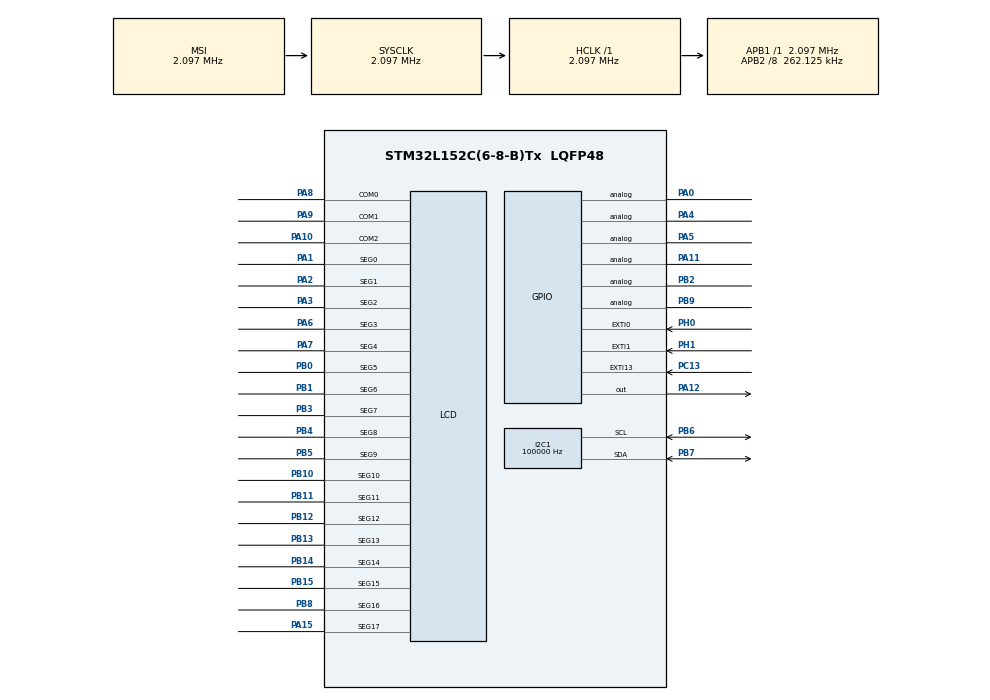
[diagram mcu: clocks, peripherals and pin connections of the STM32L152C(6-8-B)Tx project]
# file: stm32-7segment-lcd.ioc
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I2C1.ClockSpeed=100000
I2C1.NoStretchMode=I2C_NOSTRETCH_DISABLE
LCD.Bias=LCD_BIAS_1_3
LCD.BlinkFrequency=LCD_BLINKFREQUENCY_DIV8
LCD.Contrast=LCD_CONTRASTLEVEL_3
LCD.DeadTime=LCD_DEADTIME_0
LCD.Divider=LCD_DIVIDER_31
LCD.HighDrive=DISABLE
LCD.Prescaler=LCD_PRESCALER_2
LCD.PulseOnDuration=LCD_PULSEONDURATION_4
LCD.VoltageSource=LCD_VOLTAGESOURCE_INTERNAL
Mcu.Family=STM32L1
Mcu.Name=STM32L152C(6-8-B)Tx
Mcu.Package=LQFP48
NVIC.EXTI0_IRQn=true\:0\:0\:false\:false\:true\:true\:true
NVIC.EXTI15_10_IRQn=true\:0\:0\:false\:false\:true\:true\:true
NVIC.EXTI1_IRQn=true\:0\:0\:false\:false\:true\:true\:true
NVIC.LCD_IRQn=true\:0\:0\:false\:false\:true\:true\:false
NVIC.PriorityGroup=NVIC_PRIORITYGROUP_4
NVIC.RTC_WKUP_IRQn=true\:0\:0\:false\:false\:true\:true\:true
NVIC.TIM11_IRQn=true\:0\:0\:false\:false\:true\:true\:true
PA0-WKUP1.Signal=GPIO_Analog
PA1.Mode=SEG0
PA1.Signal=LCD_SEG0
PA10.Mode=1/3 Duty Cycle
PA10.Signal=LCD_COM2
PA11.Signal=GPIO_Analog
PA12.Signal=GPIO_Output
PA13.Mode=Serial_Wire
PA13.Signal=SYS_JTMS-SWDIO
PA14.Mode=Serial_Wire
PA14.Signal=SYS_JTCK-SWCLK
PA15.Mode=SEG17
PA15.Signal=LCD_SEG17
PA2.Mode=SEG1
PA2.Signal=LCD_SEG1
PA3.Mode=SEG2
PA3.Signal=LCD_SEG2
PA4.Signal=GPIO_Analog
PA5.Signal=GPIO_Analog
PA6.Mode=SEG3
PA6.Signal=LCD_SEG3
PA7.Mode=SEG4
PA7.Signal=LCD_SEG4
PA8.Mode=1/3 Duty Cycle
PA8.Signal=LCD_COM0
PA9.Mode=1/3 Duty Cycle
PA9.Signal=LCD_COM1
PB0.Mode=SEG5
PB0.Signal=LCD_SEG5
PB1.Mode=SEG6
PB1.Signal=LCD_SEG6
PB10.Mode=SEG10
PB10.Signal=LCD_SEG10
PB11.Mode=SEG11
PB11.Signal=LCD_SEG11
PB12.Mode=SEG12
PB12.Signal=LCD_SEG12
PB13.Mode=SEG13
PB13.Signal=LCD_SEG13
PB14.Mode=SEG14
PB14.Signal=LCD_SEG14
PB15.Mode=SEG15
PB15.Signal=LCD_SEG15
PB2.Signal=GPIO_Analog
PB3.Mode=SEG7
PB3.Signal=LCD_SEG7
PB4.Mode=SEG8
PB4.Signal=LCD_SEG8
PB5.Mode=SEG9
PB5.Signal=LCD_SEG9
PB6.Mode=I2C
PB6.Signal=I2C1_SCL
PB7.Mode=I2C
PB7.Signal=I2C1_SDA
PB8.Mode=SEG16
PB8.Signal=LCD_SEG16
PB9.Signal=GPIO_Analog
PC13-WKUP2.GPIO_PuPd=GPIO_PULLDOWN
PC13-WKUP2.Signal=GPXTI13
PC14-OSC32_IN.Mode=LSE-External-Oscillator
PC14-OSC32_IN.Signal=RCC_OSC32_IN
PC15-OSC32_OUT.Mode=LSE-External-Oscillator
PC15-OSC32_OUT.Signal=RCC_OSC32_OUT
PH0-OSC_IN.GPIO_PuPd=GPIO_PULLDOWN
PH0-OSC_IN.Signal=GPXTI0
PH1-OSC_OUT.GPIO_PuPd=GPIO_PULLDOWN
PH1-OSC_OUT.Signal=GPXTI1
ProjectManager.HeapSize=0x200
ProjectManager.StackSize=0x400
ProjectManager.TargetToolchain=MDK-ARM V5
RCC.48MHZClocksFreq_Value=24000000
RCC.AHBFreq_Value=2097000
RCC.APB1Freq_Value=2097000
RCC.APB1TimFreq_Value=2097000
RCC.APB2CLKDivider=RCC_HCLK_DIV8
RCC.APB2Freq_Value=262125
RCC.APB2TimFreq_Value=524250
RCC.HCLKFreq_Value=2097000
RCC.HSE_VALUE=20000000
RCC.HSI_VALUE=16000000
RCC.MSI_VALUE=2097000
RCC.PLLDIV=RCC_PLL_DIV4
RCC.PWR_Regulator_Voltage_Scale=PWR_REGULATOR_VOLTAGE_SCALE3
RCC.RTCClockSelectionVirtual=RCC_RTCCLKSOURCE_LSE
RCC.SYSCLKFreq_VALUE=2097000
RCC.VCOOutputFreq_Value=48000000
RCC.VDD_VALUE=3
RTC.Date=10
RTC.Format=RTC_FORMAT_BIN
RTC.Hours=15
RTC.Minutes=7
RTC.Month=RTC_MONTH_OCTOBER
RTC.Seconds=15
RTC.WakeUpClock-WakeUp=RTC_WAKEUPCLOCK_CK_SPRE_16BITS
RTC.WakeUpCounter-WakeUp=5
RTC.WeekDay=RTC_WEEKDAY_THURSDAY
RTC.Year=19
TIM11.Period=100
TIM11.Prescaler=1632
VP_RTC_VS_RTC_Activate.Mode=RTC_Enabled
VP_RTC_VS_RTC_Calendar.Mode=RTC_Calendar
VP_RTC_VS_RTC_WakeUp_intern.Mode=WakeUp
VP_TIM11_VS_NoETR.Mode=ClockSourceETR_Mode2_L1_Occur2
board=custom

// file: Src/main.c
/* USER CODE BEGIN Header */
/**
  ******************************************************************************
  * @file           : main.c
  * @brief          : Main program body
  ******************************************************************************
  * @attention
  *
  * <h2><center>&copy; Copyright (c) 2019 STMicroelectronics.
  * All rights reserved.</center></h2>
  *
  * This software component is licensed by ST under BSD 3-Clause license,
  * the "License"; You may not use this file except in compliance with the
  * License. You may obtain a copy of the License at:
  *                        opensource.org/licenses/BSD-3-Clause
  *
  ******************************************************************************
  */
/* USER CODE END Header */

#include "main.h"

/* USER CODE BEGIN PD */
uint32_t testd = 0;
volatile uint8_t status_interface = MENU_DEFULT;
volatile uint8_t button = 0;
uint32_t alarm_max_pressure = 7800;
uint32_t alarm_min_pressure = 7300;
uint8_t sound_alarm = SOUND_ENABLE;
volatile uint32_t tim_count;
RTC_TimeTypeDef get_time, set_time;

/* USER CODE END PD */

I2C_HandleTypeDef hi2c1;

LCD_HandleTypeDef hlcd;

RTC_HandleTypeDef hrtc;

TIM_HandleTypeDef htim11;

void SystemClock_Config(void);
static void MX_GPIO_Init(void);
static void MX_I2C1_Init(void);
static void MX_LCD_Init(void);
static void MX_RTC_Init(void);
static void MX_TIM11_Init(void);
/* USER CODE BEGIN PFP */

void HAL_TIM_PeriodElapsedCallback(TIM_HandleTypeDef *htim) {
	tim_count++;
}

/* sound signal */
void beeper(uint32_t signal_long) {
	for(uint32_t per = 0;per < signal_long;per++) {
			for(uint32_t up = 0;up < 50;up++);
			GPIOA->BSRR = GPIO_BSRR_BR_12;
			for(uint32_t down = 0;down < 200;down++);
			GPIOA->BSRR = GPIO_BSRR_BS_12;
	}
}

void HAL_GPIO_EXTI_Callback(uint16_t GPIO_Pin) {
	if ((GPIO_PIN_0|GPIO_PIN_1|GPIO_PIN_13) != 0) {
		if (GPIO_Pin == GPIO_PIN_0) button = BUTTON_UP;
		if (GPIO_Pin == GPIO_PIN_1) button = BUTTON_MID;
		if (GPIO_Pin == GPIO_PIN_13) button = BUTTON_DOWN;
		if(((GPIOH->IDR & GPIO_IDR_IDR_0) | (GPIOC->IDR & GPIO_IDR_IDR_13)) == (GPIO_IDR_IDR_0 | GPIO_IDR_IDR_13)) {
			status_interface = MENU_SET_TIME;
			button = BUTTON_MENU_TIME;
		}
		if(((GPIOH->IDR & GPIO_IDR_IDR_0) | (GPIOH->IDR & GPIO_IDR_IDR_1)) == (GPIO_IDR_IDR_0 | GPIO_IDR_IDR_1)) {
			status_interface = MENU_SET_ALARM_MAX;
			button = BUTTON_MENU_ALARM;
		}
		if(((GPIOC->IDR & GPIO_IDR_IDR_13) | (GPIOH->IDR & GPIO_IDR_IDR_1)) == (GPIO_IDR_IDR_13 | GPIO_IDR_IDR_1)) {
			status_interface = MENU_SET_ALARM_MIN;
			button = BUTTON_MENU_ALARM;
		}
		beeper(BEEP_SHORT);
	}
}

void show_time(void) {

}

/* Set system time */
void menu_set_time(void) {
		status_interface = MENU_DEFULT;
		uint32_t hold_time;
		HAL_LCD_Clear(&hlcd);
		lcd_digit(&hlcd, get_time.Seconds%10 , 5, LCD_OFF_MUSK);
		lcd_digit(&hlcd, (get_time.Seconds/10)%10 , 4, LCD_OFF_MUSK);
		lcd_digit(&hlcd, get_time.Minutes%10 , 3, LCD_OFF_MUSK);
		lcd_digit(&hlcd, (get_time.Minutes/10)%10 , 2, LCD_OFF_MUSK);
		lcd_digit(&hlcd, 10, 3, LCD_ON_MUSK); //point
		lcd_digit(&hlcd, get_time.Hours%10 , 1, LCD_OFF_MUSK);
		lcd_digit(&hlcd, (get_time.Hours/10)%10 , 0, LCD_OFF_MUSK);
		lcd_digit(&hlcd, 10, 1, LCD_ON_MUSK); //point
		HAL_LCD_UpdateDisplayRequest(&hlcd);

		// Set secconds
		hold_time = 0;
		while(button != BUTTON_MID) {
			if(button == BUTTON_UP) {
				get_time.Seconds = (get_time.Seconds+1)%60;
				button = BUTTON_MENU_TIME;
			}
			if(button == BUTTON_DOWN) {
				get_time.Seconds = (get_time.Seconds+59)%60;
				button = BUTTON_MENU_TIME;
			}
			lcd_digit(&hlcd, get_time.Seconds%10 , 5, LCD_OFF_MUSK);
			lcd_digit(&hlcd, (get_time.Seconds/10)%10 , 4, LCD_OFF_MUSK);
			lcd_digit(&hlcd, 11, 5, LCD_ON_MUSK);
			lcd_digit(&hlcd, 11, 4, LCD_ON_MUSK);
			HAL_LCD_UpdateDisplayRequest(&hlcd);
			if (hold_time > 5000) { // exit timeout ~30sec, not set
				status_interface = MENU_DEFULT;
				return;
			}
			hold_time++;
		}
		lcd_digit(&hlcd, get_time.Seconds%10 , 5, LCD_OFF_MUSK);
		lcd_digit(&hlcd, (get_time.Seconds/10)%10 , 4, LCD_OFF_MUSK);
		button = BUTTON_MENU_TIME;

		//Set minuts
		hold_time = 0;
		while(button != BUTTON_MID) {
			if(button == BUTTON_UP) {
				get_time.Minutes = (get_time.Minutes+1)%60;
				button = BUTTON_MENU_TIME;
			}
			if(button == BUTTON_DOWN) {
				get_time.Minutes = (get_time.Minutes+59)%60;
				button = BUTTON_MENU_TIME;
			}
			lcd_digit(&hlcd, get_time.Minutes%10 , 3, LCD_OFF_MUSK);
			lcd_digit(&hlcd, (get_time.Minutes/10)%10 , 2, LCD_OFF_MUSK);
			lcd_digit(&hlcd, 11, 3, LCD_ON_MUSK);
			lcd_digit(&hlcd, 10, 3, LCD_ON_MUSK); //point
			lcd_digit(&hlcd, 11, 2, LCD_ON_MUSK);
			HAL_LCD_UpdateDisplayRequest(&hlcd);
			if (hold_time > 5000) { // exit timeout ~30sec, not set
				status_interface = MENU_DEFULT;
				return;
			}
			hold_time++;
		}
		lcd_digit(&hlcd, get_time.Minutes%10 , 3, LCD_OFF_MUSK);
		lcd_digit(&hlcd, (get_time.Minutes/10)%10 , 2, LCD_OFF_MUSK);
		lcd_digit(&hlcd, 10, 3, LCD_ON_MUSK); //point
		button = BUTTON_MENU_TIME;

		//Set hous
		hold_time = 0;
		while(button != BUTTON_MID) {
			if(button == BUTTON_UP) {
				get_time.Hours = (get_time.Hours+1)%24;
				button = BUTTON_MENU_TIME;
			}
			if(button == BUTTON_DOWN) {
				get_time.Hours = (get_time.Hours+23)%24;
				button = BUTTON_MENU_TIME;
			}
			lcd_digit(&hlcd, get_time.Hours%10 , 1, LCD_OFF_MUSK);
			lcd_digit(&hlcd, (get_time.Hours/10)%10 , 0, LCD_OFF_MUSK);
			lcd_digit(&hlcd, 11, 1, LCD_ON_MUSK);
			lcd_digit(&hlcd, 10, 1, LCD_ON_MUSK);
			lcd_digit(&hlcd, 11, 0, LCD_ON_MUSK);
			HAL_LCD_UpdateDisplayRequest(&hlcd);
			if (hold_time > 5000) { // exit timeout ~30sec, not set
				status_interface = MENU_DEFULT;
				return;
			}
			hold_time++;
		}
		lcd_digit(&hlcd, get_time.Hours%10 , 1, LCD_OFF_MUSK);
		lcd_digit(&hlcd, (get_time.Hours/10)%10 , 0, LCD_OFF_MUSK);
		HAL_LCD_UpdateDisplayRequest(&hlcd);
		//apply time
		HAL_RTC_SetTime(&hrtc, &get_time, RTC_FORMAT_BIN);
		status_interface = MENU_DEFULT;
}

/* alarm signal when exceeded pressure limit */
void menu_set_alarm_pressure(uint8_t mode) {
		uint32_t tmp_pres;
		if(mode == MENU_SET_ALARM_MAX) tmp_pres = alarm_max_pressure;
		if(mode == MENU_SET_ALARM_MIN) tmp_pres = alarm_min_pressure;
		uint32_t hold_time = 0;
		HAL_LCD_Clear(&hlcd);
	while(1) {
		lcd_digit(&hlcd, tmp_pres%10, 5, LCD_OFF_MUSK);
		lcd_digit(&hlcd, (tmp_pres/10)%10, 4, LCD_OFF_MUSK);
		lcd_digit(&hlcd, (tmp_pres/100)%10, 3, LCD_OFF_MUSK);
		lcd_digit(&hlcd, (tmp_pres/1000)%10, 2, LCD_OFF_MUSK);
		lcd_digit(&hlcd, 10, 4, LCD_ON_MUSK); //point
		lcd_digit(&hlcd, 11, 2, LCD_ON_MUSK);
		lcd_digit(&hlcd, 11, 3, LCD_ON_MUSK);
		lcd_digit(&hlcd, 11, 4, LCD_ON_MUSK);
		lcd_digit(&hlcd, 11, 5, LCD_ON_MUSK);
		HAL_LCD_UpdateDisplayRequest(&hlcd);
		if(button == BUTTON_MID)	{
			if(mode == MENU_SET_ALARM_MAX) alarm_max_pressure = tmp_pres;
			if(mode == MENU_SET_ALARM_MIN) alarm_min_pressure = tmp_pres;
			status_interface = MENU_DEFULT;
			return;
		}
		if(button == BUTTON_UP)	{
			button = BUTTON_MENU_ALARM;
			if(tmp_pres < 10000) tmp_pres += 10;
		}
		if(button == BUTTON_DOWN)	{
			button = BUTTON_MENU_ALARM;
			if(tmp_pres > 10) tmp_pres -= 10;
		}
		if (hold_time > 5000) {
			status_interface = MENU_DEFULT;
			return;
		}
		hold_time++;
	}
}

void delay_timer(uint16_t ms) {
	htim11.Init.Period = ms;
	if (HAL_TIM_Base_Init(&htim11) != HAL_OK)
  {
    Error_Handler();
  }
 	tim_count = 0;
	__HAL_TIM_CLEAR_IT (&htim11, TIM_IT_UPDATE);
	HAL_TIM_Base_Start_IT(&htim11);
	HAL_PWR_EnterSLEEPMode(PWR_LOWPOWERREGULATOR_ON, PWR_STOPENTRY_WFI);
	while(tim_count == 0);
	HAL_TIM_Base_Stop_IT(&htim11);
}
/* USER CODE END PFP */

int main(void)
{

  /* MCU Configuration--------------------------------------------------------*/

  /* Reset of all peripherals, Initializes the Flash interface and the Systick. */
  HAL_Init();

  /* Configure the system clock */
  SystemClock_Config();

  /* USER CODE BEGIN SysInit */
	//__HAL_RCC_PWR_CLK_ENABLE();
	//HAL_PWR_EnableBkUpAccess();
  /* USER CODE END SysInit */

  /* Initialize all configured peripherals */
  MX_GPIO_Init();
  MX_I2C1_Init();
  MX_LCD_Init();
  MX_RTC_Init();
  MX_TIM11_Init();

  /* Infinite loop */
  /* USER CODE BEGIN WHILE */
	//HAL_TIM_Base_Start_IT(&htim11);
	HAL_LCD_Clear(&hlcd);

	for(uint32_t startp = 0;startp < 500000;startp++);
	SysTick-> CTRL = 0;
	//DBGMCU->CR |= (DBGMCU_CR_DBG_SLEEP | DBGMCU_CR_DBG_STOP | DBGMCU_CR_DBG_STANDBY);
	__HAL_FLASH_SLEEP_POWERDOWN_ENABLE(); //Disable flash in Sleep mode
	HAL_PWREx_EnableLowPowerRunMode(); //Enable low power mode run CPU
	//HAL_PWR_EnableWakeUpPin(PWR_WAKEUP_PIN1);

  while (1)  {
		switch (status_interface) {
			case MENU_DEFULT: {
		/* get pressure */
				struct bmp085_result test_str;
				bmp085_get_data(&hi2c1, &test_str);
				testd = test_str.p_mm_rt_st*10;
		/* print pressure */
				HAL_LCD_Clear(&hlcd);
				lcd_digit(&hlcd, testd%10, 5, LCD_OFF_MUSK);
				lcd_digit(&hlcd, (testd/10)%10, 4, LCD_OFF_MUSK);
				lcd_digit(&hlcd, (testd/100)%10, 3, LCD_OFF_MUSK);
				lcd_digit(&hlcd, (testd/1000)%10, 2, LCD_OFF_MUSK);
				lcd_digit(&hlcd, 12, 0, LCD_OFF_MUSK);
				lcd_digit(&hlcd, 10, 4, LCD_ON_MUSK); //point
				HAL_LCD_UpdateDisplayRequest(&hlcd);
				/* check max and min alarm */
				if(testd > alarm_max_pressure) beeper(BEEP_LONG);
				if(testd < alarm_min_pressure) beeper(BEEP_LONG);
				if (status_interface != MENU_DEFULT) break;
				MK_STOP;
				if (status_interface != MENU_DEFULT) break;
		/* print  temperature */
				HAL_LCD_Clear(&hlcd);
				lcd_digit(&hlcd, test_str.t_cel%10, 5, LCD_OFF_MUSK);
				lcd_digit(&hlcd, (test_str.t_cel/10)%10, 4, LCD_OFF_MUSK);
				lcd_digit(&hlcd, (test_str.t_cel/100)%10, 3, LCD_OFF_MUSK);
				if((test_str.t_cel/1000)%10 != 0) lcd_digit(&hlcd, (test_str.t_cel/1000)%10, 2, LCD_OFF_MUSK);
				lcd_digit(&hlcd, 14, 0, LCD_OFF_MUSK);
				lcd_digit(&hlcd, 10, 4, LCD_ON_MUSK); //point
				HAL_LCD_UpdateDisplayRequest(&hlcd);
				if (status_interface != MENU_DEFULT) break;
				MK_STOP;
				if (status_interface != MENU_DEFULT) break;
		/* print clock */
				HAL_RTC_GetTime(&hrtc, &get_time, RTC_FORMAT_BIN);
				HAL_LCD_Clear(&hlcd);
				lcd_digit(&hlcd, get_time.Minutes%10 , 5, LCD_OFF_MUSK);
				lcd_digit(&hlcd, (get_time.Minutes/10)%10 , 4, LCD_OFF_MUSK);
				lcd_digit(&hlcd, 13, 3, LCD_OFF_MUSK);
				lcd_digit(&hlcd, get_time.Hours%10 , 2, LCD_OFF_MUSK);
				lcd_digit(&hlcd, (get_time.Hours/10)%10 , 1, LCD_OFF_MUSK);
				HAL_LCD_UpdateDisplayRequest(&hlcd);
				if (status_interface != MENU_DEFULT) break;
				MK_STOP;
				break;
				}
			case MENU_SET_TIME: {
				menu_set_time();
				break;
			}
			case MENU_SET_ALARM_MAX: {
				menu_set_alarm_pressure(MENU_SET_ALARM_MAX);
				break;
			}
			case MENU_SET_ALARM_MIN: {
				menu_set_alarm_pressure(MENU_SET_ALARM_MIN);
				break;
			}
		}

    /* USER CODE END WHILE */

  }
}

void SystemClock_Config(void)
{
  RCC_OscInitTypeDef RCC_OscInitStruct = {0};
  RCC_ClkInitTypeDef RCC_ClkInitStruct = {0};
  RCC_PeriphCLKInitTypeDef PeriphClkInit = {0};

  /** Configure the main internal regulator output voltage
  */
  __HAL_PWR_VOLTAGESCALING_CONFIG(PWR_REGULATOR_VOLTAGE_SCALE3);
  /** Initializes the CPU, AHB and APB busses clocks
  */
  RCC_OscInitStruct.OscillatorType = RCC_OSCILLATORTYPE_LSE|RCC_OSCILLATORTYPE_MSI;
  RCC_OscInitStruct.LSEState = RCC_LSE_ON;
  RCC_OscInitStruct.MSIState = RCC_MSI_ON;
  RCC_OscInitStruct.MSICalibrationValue = 0;
  RCC_OscInitStruct.MSIClockRange = RCC_MSIRANGE_5;
  RCC_OscInitStruct.PLL.PLLState = RCC_PLL_NONE;
  if (HAL_RCC_OscConfig(&RCC_OscInitStruct) != HAL_OK)
  {
    Error_Handler();
  }
  /** Initializes the CPU, AHB and APB busses clocks
  */
  RCC_ClkInitStruct.ClockType = RCC_CLOCKTYPE_HCLK|RCC_CLOCKTYPE_SYSCLK
                              |RCC_CLOCKTYPE_PCLK1|RCC_CLOCKTYPE_PCLK2;
  RCC_ClkInitStruct.SYSCLKSource = RCC_SYSCLKSOURCE_MSI;
  RCC_ClkInitStruct.AHBCLKDivider = RCC_SYSCLK_DIV1;
  RCC_ClkInitStruct.APB1CLKDivider = RCC_HCLK_DIV1;
  RCC_ClkInitStruct.APB2CLKDivider = RCC_HCLK_DIV8;

  if (HAL_RCC_ClockConfig(&RCC_ClkInitStruct, FLASH_LATENCY_0) != HAL_OK)
  {
    Error_Handler();
  }
  PeriphClkInit.PeriphClockSelection = RCC_PERIPHCLK_RTC|RCC_PERIPHCLK_LCD;
  PeriphClkInit.RTCClockSelection = RCC_RTCCLKSOURCE_LSE;
  PeriphClkInit.LCDClockSelection = RCC_RTCCLKSOURCE_LSE;

  if (HAL_RCCEx_PeriphCLKConfig(&PeriphClkInit) != HAL_OK)
  {
    Error_Handler();
  }
}

static void MX_I2C1_Init(void)
{

  hi2c1.Instance = I2C1;
  hi2c1.Init.ClockSpeed = 100000;
  hi2c1.Init.DutyCycle = I2C_DUTYCYCLE_2;
  hi2c1.Init.OwnAddress1 = 0;
  hi2c1.Init.AddressingMode = I2C_ADDRESSINGMODE_7BIT;
  hi2c1.Init.DualAddressMode = I2C_DUALADDRESS_DISABLE;
  hi2c1.Init.OwnAddress2 = 0;
  hi2c1.Init.GeneralCallMode = I2C_GENERALCALL_DISABLE;
  hi2c1.Init.NoStretchMode = I2C_NOSTRETCH_DISABLE;
  if (HAL_I2C_Init(&hi2c1) != HAL_OK)
  {
    Error_Handler();
  }

}

static void MX_LCD_Init(void)
{

  hlcd.Instance = LCD;
  hlcd.Init.Prescaler = LCD_PRESCALER_2;
  hlcd.Init.Divider = LCD_DIVIDER_31;
  hlcd.Init.Duty = LCD_DUTY_1_3;
  hlcd.Init.Bias = LCD_BIAS_1_3;
  hlcd.Init.VoltageSource = LCD_VOLTAGESOURCE_INTERNAL;
  hlcd.Init.Contrast = LCD_CONTRASTLEVEL_3;
  hlcd.Init.DeadTime = LCD_DEADTIME_0;
  hlcd.Init.PulseOnDuration = LCD_PULSEONDURATION_4;
  hlcd.Init.MuxSegment = LCD_MUXSEGMENT_DISABLE;
  hlcd.Init.BlinkMode = LCD_BLINKMODE_OFF;
  hlcd.Init.BlinkFrequency = LCD_BLINKFREQUENCY_DIV8;
  if (HAL_LCD_Init(&hlcd) != HAL_OK)
  {
    Error_Handler();
  }

}

static void MX_RTC_Init(void)
{

  RTC_TimeTypeDef sTime = {0};
  RTC_DateTypeDef sDate = {0};

  /** Initialize RTC Only
  */
  hrtc.Instance = RTC;
  hrtc.Init.HourFormat = RTC_HOURFORMAT_24;
  hrtc.Init.AsynchPrediv = 127;
  hrtc.Init.SynchPrediv = 255;
  hrtc.Init.OutPut = RTC_OUTPUT_DISABLE;
  hrtc.Init.OutPutPolarity = RTC_OUTPUT_POLARITY_HIGH;
  hrtc.Init.OutPutType = RTC_OUTPUT_TYPE_OPENDRAIN;
  if (HAL_RTC_Init(&hrtc) != HAL_OK)
  {
    Error_Handler();
  }

  /** Initialize RTC and set the Time and Date
  */
  sTime.Hours = 15;
  sTime.Minutes = 7;
  sTime.Seconds = 15;
  sTime.DayLightSaving = RTC_DAYLIGHTSAVING_NONE;
  sTime.StoreOperation = RTC_STOREOPERATION_RESET;
  if (HAL_RTC_SetTime(&hrtc, &sTime, RTC_FORMAT_BIN) != HAL_OK)
  {
    Error_Handler();
  }
  sDate.WeekDay = RTC_WEEKDAY_THURSDAY;
  sDate.Month = RTC_MONTH_OCTOBER;
  sDate.Date = 10;
  sDate.Year = 19;

  if (HAL_RTC_SetDate(&hrtc, &sDate, RTC_FORMAT_BIN) != HAL_OK)
  {
    Error_Handler();
  }
  /** Enable the WakeUp
  */
  if (HAL_RTCEx_SetWakeUpTimer_IT(&hrtc, 5, RTC_WAKEUPCLOCK_CK_SPRE_16BITS) != HAL_OK)
  {
    Error_Handler();
  }

}

static void MX_TIM11_Init(void)
{

  TIM_ClockConfigTypeDef sClockSourceConfig = {0};

  htim11.Instance = TIM11;
  htim11.Init.Prescaler = 33;
  htim11.Init.CounterMode = TIM_COUNTERMODE_UP;
  htim11.Init.Period = 1;
  htim11.Init.ClockDivision = TIM_CLOCKDIVISION_DIV1;
  htim11.Init.AutoReloadPreload = TIM_AUTORELOAD_PRELOAD_DISABLE;
  if (HAL_TIM_Base_Init(&htim11) != HAL_OK)
  {
    Error_Handler();
  }
  sClockSourceConfig.ClockSource = TIM_CLOCKSOURCE_ETRMODE2;
  sClockSourceConfig.ClockPolarity = TIM_CLOCKPOLARITY_NONINVERTED;
  sClockSourceConfig.ClockPrescaler = TIM_CLOCKPRESCALER_DIV1;
  sClockSourceConfig.ClockFilter = 0;
  if (HAL_TIM_ConfigClockSource(&htim11, &sClockSourceConfig) != HAL_OK)
  {
    Error_Handler();
  }

}

static void MX_GPIO_Init(void)
{
  GPIO_InitTypeDef GPIO_InitStruct = {0};

  /* GPIO Ports Clock Enable */
  __HAL_RCC_GPIOC_CLK_ENABLE();
  __HAL_RCC_GPIOH_CLK_ENABLE();
  __HAL_RCC_GPIOA_CLK_ENABLE();
  __HAL_RCC_GPIOB_CLK_ENABLE();

  /*Configure GPIO pin Output Level */
  HAL_GPIO_WritePin(GPIOA, GPIO_PIN_12, GPIO_PIN_RESET);

  /*Configure GPIO pin : PC13 */
  GPIO_InitStruct.Pin = GPIO_PIN_13;
  GPIO_InitStruct.Mode = GPIO_MODE_IT_RISING;
  GPIO_InitStruct.Pull = GPIO_PULLDOWN;
  HAL_GPIO_Init(GPIOC, &GPIO_InitStruct);

  /*Configure GPIO pins : PH0 PH1 */
  GPIO_InitStruct.Pin = GPIO_PIN_0|GPIO_PIN_1;
  GPIO_InitStruct.Mode = GPIO_MODE_IT_RISING;
  GPIO_InitStruct.Pull = GPIO_PULLDOWN;
  HAL_GPIO_Init(GPIOH, &GPIO_InitStruct);

  /*Configure GPIO pins : PA0 PA4 PA5 PA11 */
  GPIO_InitStruct.Pin = GPIO_PIN_0|GPIO_PIN_4|GPIO_PIN_5|GPIO_PIN_11;
  GPIO_InitStruct.Mode = GPIO_MODE_ANALOG;
  GPIO_InitStruct.Pull = GPIO_NOPULL;
  HAL_GPIO_Init(GPIOA, &GPIO_InitStruct);

  /*Configure GPIO pins : PB2 PB9 */
  GPIO_InitStruct.Pin = GPIO_PIN_2|GPIO_PIN_9;
  GPIO_InitStruct.Mode = GPIO_MODE_ANALOG;
  GPIO_InitStruct.Pull = GPIO_NOPULL;
  HAL_GPIO_Init(GPIOB, &GPIO_InitStruct);

  /*Configure GPIO pin : PA12 */
  GPIO_InitStruct.Pin = GPIO_PIN_12;
  GPIO_InitStruct.Mode = GPIO_MODE_OUTPUT_PP;
  GPIO_InitStruct.Pull = GPIO_NOPULL;
  GPIO_InitStruct.Speed = GPIO_SPEED_FREQ_LOW;
  HAL_GPIO_Init(GPIOA, &GPIO_InitStruct);

  /* EXTI interrupt init*/
  HAL_NVIC_SetPriority(EXTI0_IRQn, 0, 0);
  HAL_NVIC_EnableIRQ(EXTI0_IRQn);

  HAL_NVIC_SetPriority(EXTI1_IRQn, 0, 0);
  HAL_NVIC_EnableIRQ(EXTI1_IRQn);

  HAL_NVIC_SetPriority(EXTI15_10_IRQn, 0, 0);
  HAL_NVIC_EnableIRQ(EXTI15_10_IRQn);

}

void Error_Handler(void)
{
}

/************************ (C) COPYRIGHT STMicroelectronics *****END OF FILE****/
